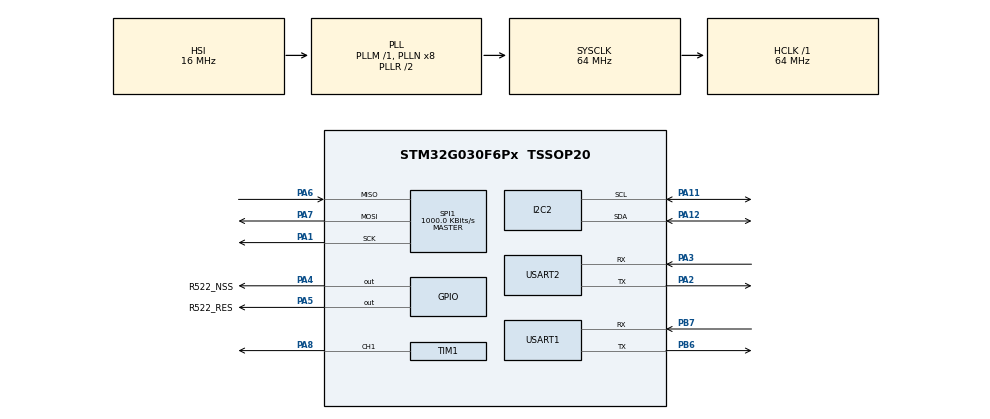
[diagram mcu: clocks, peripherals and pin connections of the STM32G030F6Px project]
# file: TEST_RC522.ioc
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Dma.Request0=TIM1_CH1
Dma.TIM1_CH1.0.Direction=DMA_MEMORY_TO_PERIPH
Dma.TIM1_CH1.0.EventEnable=DISABLE
Dma.TIM1_CH1.0.Instance=DMA1_Channel1
Dma.TIM1_CH1.0.MemDataAlignment=DMA_MDATAALIGN_HALFWORD
Dma.TIM1_CH1.0.MemInc=DMA_MINC_ENABLE
Dma.TIM1_CH1.0.Mode=DMA_NORMAL
Dma.TIM1_CH1.0.PeriphDataAlignment=DMA_PDATAALIGN_HALFWORD
Dma.TIM1_CH1.0.PeriphInc=DMA_PINC_DISABLE
Dma.TIM1_CH1.0.Polarity=HAL_DMAMUX_REQ_GEN_RISING
Dma.TIM1_CH1.0.Priority=DMA_PRIORITY_HIGH
Dma.TIM1_CH1.0.RequestNumber=1
Dma.TIM1_CH1.0.SignalID=NONE
Dma.TIM1_CH1.0.SyncEnable=DISABLE
Dma.TIM1_CH1.0.SyncPolarity=HAL_DMAMUX_SYNC_NO_EVENT
Dma.TIM1_CH1.0.SyncRequestNumber=1
Dma.TIM1_CH1.0.SyncSignalID=NONE
I2C2.Timing=0x10707DBC
Mcu.Family=STM32G0
Mcu.Name=STM32G030F6Px
Mcu.Package=TSSOP20
NVIC.DMA1_Channel1_IRQn=true\:0\:0\:false\:false\:true\:false\:true\:true
NVIC.USART1_IRQn=true\:0\:0\:false\:false\:true\:true\:true\:true
PA1.Mode=Full_Duplex_Master
PA1.Signal=SPI1_SCK
PA11\ [PA9].Mode=I2C
PA11\ [PA9].Signal=I2C2_SCL
PA12\ [PA10].Mode=I2C
PA12\ [PA10].Signal=I2C2_SDA
PA13.Mode=Serial_Wire
PA13.Signal=SYS_SWDIO
PA14-BOOT0.Mode=Serial_Wire
PA14-BOOT0.Signal=SYS_SWCLK
PA14-BOOT0__PA15.StandardMode=true
PA2.GPIO_PuPd=GPIO_PULLUP
PA2.Mode=Asynchronous
PA2.Signal=USART2_TX
PA3.GPIO_PuPd=GPIO_PULLUP
PA3.Mode=Asynchronous
PA3.Signal=USART2_RX
PA4.GPIO_Label=R522_NSS
PA4.GPIO_PuPd=GPIO_PULLUP
PA4.GPIO_Speed=GPIO_SPEED_FREQ_VERY_HIGH
PA4.Signal=GPIO_Output
PA5.GPIO_Label=R522_RES
PA5.GPIO_PuPd=GPIO_PULLUP
PA5.GPIO_Speed=GPIO_SPEED_FREQ_VERY_HIGH
PA5.Signal=GPIO_Output
PA6.Mode=Full_Duplex_Master
PA6.Signal=SPI1_MISO
PA7.Mode=Full_Duplex_Master
PA7.Signal=SPI1_MOSI
PA8.Signal=S_TIM1_CH1
PB0__PB1__PB2__PA8.StandardMode=true
PB3__PB4__PB5__PB6.StandardMode=true
PB6.GPIO_PuPd=GPIO_PULLUP
PB6.Mode=Asynchronous
PB6.Signal=USART1_TX
PB7.GPIO_PuPd=GPIO_PULLUP
PB7.Mode=Asynchronous
PB7.Signal=USART1_RX
PB7__PB8.StandardMode=true
PC14-OSC32_IN\ (PC14)__PB9.StandardMode=true
ProjectManager.HeapSize=0x200
ProjectManager.StackSize=0x400
ProjectManager.TargetToolchain=MDK-ARM V5.32
RCC.ADCFreq_Value=64000000
RCC.AHBFreq_Value=64000000
RCC.CortexFreq_Value=64000000
RCC.EXTERNAL_CLOCK_VALUE=12288000
RCC.HCLKFreq_Value=64000000
RCC.HSE_VALUE=8000000
RCC.HSI_VALUE=16000000
RCC.LSE_VALUE=32768
RCC.SYSCLKFreq_VALUE=64000000
RCC.SYSCLKSource=RCC_SYSCLKSOURCE_PLLCLK
RCC.VCOOutputFreq_Value=128000000
SH.S_TIM1_CH1.0=TIM1_CH1,PWM Generation1 CH1
SPI1.BaudRatePrescaler=SPI_BAUDRATEPRESCALER_64
SPI1.CRCCalculation=SPI_CRCCALCULATION_DISABLE
SPI1.CalculateBaudRate=1000.0 KBits/s
SPI1.Direction=SPI_DIRECTION_2LINES
SPI1.Mode=SPI_MODE_MASTER
SPI1.VirtualType=VM_MASTER
TIM1.Channel-PWM\ Generation1\ CH1=TIM_CHANNEL_1
TIM1.Period=1279
USART1.VirtualMode-Asynchronous=VM_ASYNC
USART2.VirtualMode-Asynchronous=VM_ASYNC
board=custom

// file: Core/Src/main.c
/* USER CODE BEGIN Header */
/**
  ******************************************************************************
  * @file           : main.c
  * @brief          : Main program body
  ******************************************************************************
  * @attention
  *
  * Copyright (c) 2023 STMicroelectronics.
  * All rights reserved.
  *
  * This software is licensed under terms that can be found in the LICENSE file
  * in the root directory of this software component.
  * If no LICENSE file comes with this software, it is provided AS-IS.
  *
  ******************************************************************************
  */
/* USER CODE END Header */
#include "main.h"
#include "dma.h"
#include "i2c.h"
#include "spi.h"
#include "tim.h"
#include "usart.h"
#include "gpio.h"

/* USER CODE BEGIN PTD */

//以下为版本更新说明
//V0.1可上线使用
//V0.2
//修改了存入20号数据会导致错误 无法再次读取消息的bug
//修改数据 24cxx.c 的AT24CXX_Check 函数的 255 改成 EE_TYPE
//修改数据 CONTROL.c 的 Control_ReadUserFormAT24CXX Line 239（i-- ）删除

#define FSUS_OPEN_ANGLE 5 	//修改开门和关门的角度
#define FSUS_CLOSE_ANGLE -30
#define FSUS_TIME_OPEN 400//修改开门和关门的时间 最慢1000MS->1S
#define FSUS_TIME_CLOSE 1000

/* USER CODE END PTD */

void SystemClock_Config(void);

/* USER CODE BEGIN 0 */
 uint8_t TEXT_Buffer[]={0XF1,0XF2,0XF3,0XF4,0XFF,0X1F,0X2F,0X3F,0X4F};
#define SIZE sizeof(TEXT_Buffer)

/* USER CODE END 0 */

int main(void)
{
  /* USER CODE BEGIN 1 */
	char cid[20]={0};
	uint8_t getSure=1;
	uint8_t timeOut=0;
	uint8_t len=0;
	uint8_t ledFlage=0;
  /* USER CODE END 1 */

  /* MCU Configuration--------------------------------------------------------*/

  /* Reset of all peripherals, Initializes the Flash interface and the Systick. */
  HAL_Init();

  /* Configure the system clock */
  SystemClock_Config();

  /* USER CODE BEGIN SysInit */

	User_CreateAdmin(0,0XABCDEFFF);//一定要添加一个管理员
  /* USER CODE END SysInit */

  /* Initialize all configured peripherals */
  MX_GPIO_Init();
  MX_DMA_Init();
  MX_SPI1_Init();
  MX_USART1_UART_Init();
  MX_I2C2_Init();
  MX_USART2_UART_Init();
  MX_TIM1_Init();
  /* USER CODE BEGIN 2 */
	RC522_Init();
	while(AT24CXX_Check())//检测不到24c02
	{
		HAL_Delay(500);
		rgb_show(1,RED);
		HAL_Delay(500);
	}
	rgb_show(1, BLACK);
	printf("\r\n开机读取代码=%2X\r\n",Control_ReadUserFormAT24CXX())	;
	FSUS_SetServoAngle(0,FSUS_CLOSE_ANGLE,1000,0);
	HAL_Delay(1000);
	FSUS_SetServoAngle(0,-15,500,0);
	HAL_Delay(500);
	FSUS_SetServoAngle(0,FSUS_CLOSE_ANGLE,1000,0);
	FSUS_Stop(0);
  /* USER CODE END 2 */

  /* Infinite loop */
  while (1)
  {

    /* USER CODE BEGIN 3 */
		if(USART_RX_STA&0x8000){
			char str[20]={0};
			rgb_show(1, WHITE);
			len=USART_RX_STA&0x3fff;//得到此次接收到的数据长度
			get_data_str((char*)USART_RX_BUF,0,len,str);
			USART_RX_STA=0;
			if(strcmp("我要摇人",str)!=0){
				HAL_Delay(100);
				rgb_show(1, BLACK);
				continue;
			}
			printf("\r\n请放置卡 5S后超时\r\n")	;
			while(1){
					HAL_Delay(100);

					if(ledFlage==1&&timeOut%2==0){
						rgb_show(1,CYAN);
						ledFlage=0;
					}	else if (ledFlage==0&&timeOut%2==0){
						rgb_show(1,BLACK);
						ledFlage=1;
					}

					if(timeOut++>=50){
						printf("\r\n超时 已退出\r\n");
						HAL_Delay(50);
						rgb_show(1,RED);
						HAL_Delay(1000);
						rgb_show(1, BLACK);
						timeOut=0;
						break;
					}else if(RC522_Read_ID_Once(cid)==MI_OK){
					printf ("\r\n读取到的卡ID为:%02X%02X%02X%02X\r\n", cid [ 0 ], cid [ 1 ], cid [ 2 ], cid [ 3 ] );
					getSure=User_Find(u8_Tun_u32((uint8_t*)cid));
					if(getSure==CODE_USER_AS){
							USART_RX_STA=0;
							Show_Menu();
							Control_Menu();
					}else if(getSure==CODE_USER_OK){
						printf ("\r\n用户不存在 已退出\r\n");
						HAL_Delay(500);
						timeOut=0;
						break;
					}else{
						printf ("\r\n未知错误 错误代码%x 已退出\r\n",getSure);
						timeOut=0;
						break;
					}
				}
			}
			USART_RX_STA=0;
		}else{
			if(RC522_Read_ID_Once(cid)==MI_OK){
				printf ("\r\n读取到的卡ID为:%02X%02X%02X%02X\r\n", cid [ 0 ], cid [ 1 ], cid [ 2 ], cid [ 3 ] );
				getSure=User_Find(u8_Tun_u32((uint8_t*)cid));
				if(getSure==CODE_USER_AS){
					printf ("\r\n用户存在 已经开锁\r\n");
					rgb_show(1, BLUE);
					FSUS_SetServoAngle(0,FSUS_OPEN_ANGLE,FSUS_TIME_OPEN,0);
					HAL_Delay(FSUS_TIME_OPEN);
					FSUS_SetServoAngle(0,FSUS_CLOSE_ANGLE,FSUS_TIME_CLOSE,0);
					HAL_Delay(FSUS_TIME_CLOSE);
					FSUS_Stop(0);
					rgb_show(1, BLACK);

				}else if(getSure==CODE_USER_OK){
					rgb_show(1, RED);		;
					HAL_Delay(1000);
					printf ("\r\n用户不存在\r\n");
					rgb_show(1, BLACK);
				}else{
					rgb_show(1, RED);		;
					HAL_Delay(1000);
					printf ("\r\n未知错误 错误代码%x\r\n",getSure);
					rgb_show(1, BLACK);
				}
				getSure=1;
			}
		}
  }
  /* USER CODE END 3 */
}

void SystemClock_Config(void)
{
  RCC_OscInitTypeDef RCC_OscInitStruct = {0};
  RCC_ClkInitTypeDef RCC_ClkInitStruct = {0};

  /** Configure the main internal regulator output voltage
  */
  HAL_PWREx_ControlVoltageScaling(PWR_REGULATOR_VOLTAGE_SCALE1);

  /** Initializes the RCC Oscillators according to the specified parameters
  * in the RCC_OscInitTypeDef structure.
  */
  RCC_OscInitStruct.OscillatorType = RCC_OSCILLATORTYPE_HSI;
  RCC_OscInitStruct.HSIState = RCC_HSI_ON;
  RCC_OscInitStruct.HSIDiv = RCC_HSI_DIV1;
  RCC_OscInitStruct.HSICalibrationValue = RCC_HSICALIBRATION_DEFAULT;
  RCC_OscInitStruct.PLL.PLLState = RCC_PLL_ON;
  RCC_OscInitStruct.PLL.PLLSource = RCC_PLLSOURCE_HSI;
  RCC_OscInitStruct.PLL.PLLM = RCC_PLLM_DIV1;
  RCC_OscInitStruct.PLL.PLLN = 8;
  RCC_OscInitStruct.PLL.PLLP = RCC_PLLP_DIV2;
  RCC_OscInitStruct.PLL.PLLR = RCC_PLLR_DIV2;
  if (HAL_RCC_OscConfig(&RCC_OscInitStruct) != HAL_OK)
  {
    Error_Handler();
  }

  /** Initializes the CPU, AHB and APB buses clocks
  */
  RCC_ClkInitStruct.ClockType = RCC_CLOCKTYPE_HCLK|RCC_CLOCKTYPE_SYSCLK
                              |RCC_CLOCKTYPE_PCLK1;
  RCC_ClkInitStruct.SYSCLKSource = RCC_SYSCLKSOURCE_PLLCLK;
  RCC_ClkInitStruct.AHBCLKDivider = RCC_SYSCLK_DIV1;
  RCC_ClkInitStruct.APB1CLKDivider = RCC_HCLK_DIV1;

  if (HAL_RCC_ClockConfig(&RCC_ClkInitStruct, FLASH_LATENCY_2) != HAL_OK)
  {
    Error_Handler();
  }
}

void Error_Handler(void)
{
  __disable_irq();
  while (1)
  {
  }
}
